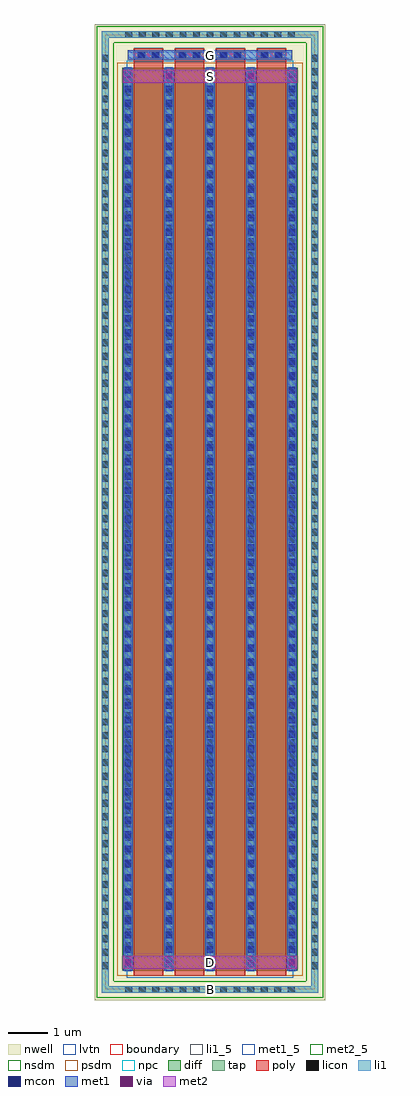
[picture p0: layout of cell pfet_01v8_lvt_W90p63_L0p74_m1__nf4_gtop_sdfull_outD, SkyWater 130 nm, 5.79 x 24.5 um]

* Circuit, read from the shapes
.subckt pfet_01v8_lvt_W90p63_L0p74_m1__nf4_gtop_sdfull_outD B D G S
XM1 S G D B sky130_fd_pr__pfet_01v8_lvt w=22.66 l=0.74 m=4
.ends

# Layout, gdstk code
import gdstk
lib = gdstk.Library(unit=1e-6, precision=1e-09)
def R(c, l, rs):  # rectangles x0, y0, x1, y1
    for r in rs: c.add(gdstk.rectangle(r[:2], r[2:], *l))
def A(c, l, x, y, w, h, nx, ny, dx, dy):  # array of equal rectangles
    R(c, l, [(x+i*dx, y+j*dy, x+i*dx+w, y+j*dy+h) for i in range(nx) for j in range(ny)])
nwell = (64, 20)
diff = (65, 20)
tap = (65, 44)
poly = (66, 20)
licon = (66, 44)
li1_5 = (67, 5)
li1 = (67, 20)
mcon = (67, 44)
met1_5 = (68, 5)
met1 = (68, 20)
via = (68, 44)
met2_5 = (69, 5)
met2 = (69, 20)
nsdm = (93, 44)
psdm = (94, 20)
npc = (95, 20)
lvtn = (125, 44)
boundary = (235, 4)

sky130_fd_pr__pfet_01v8_ = lib.new_cell('sky130_fd_pr__pfet_01v8_lvt_HVWXRW')
R(sky130_fd_pr__pfet_01v8_, nwell, [(-2.895,-12.25,2.895,12.25)])
R(sky130_fd_pr__pfet_01v8_, diff, [(-2.205,-11.51,2.205,11.15)])
R(sky130_fd_pr__pfet_01v8_, tap, [(-2.715,-12.07,2.715,-11.9), (-2.715,-11.9,-2.545,11.9), (2.545,-11.9,2.715,11.9), (-2.715,11.9,2.715,12.07)])
A(sky130_fd_pr__pfet_01v8_, poly, -1.915, -11.64, 0.74, 23.275, 4, 1, 1.03, 0)
A(sky130_fd_pr__pfet_01v8_, licon, -2.125, -12.07, 0.17, 0.17, 13, 2, 0.34, 23.97)
A(sky130_fd_pr__pfet_01v8_, licon, -2.715, -11.475, 0.17, 0.17, 1, 68, 0, 0.34)
A(sky130_fd_pr__pfet_01v8_, licon, 2.545, -11.475, 0.17, 0.17, 1, 68, 0, 0.34)
A(sky130_fd_pr__pfet_01v8_, licon, -2.145, -11.315, 0.17, 0.17, 5, 66, 1.03, 0.34)
R(sky130_fd_pr__pfet_01v8_, licon, [(-1.8,11.385,-1.63,11.555), (-1.46,11.385,-1.29,11.555), (-0.77,11.385,-0.6,11.555), (-0.43,11.385,-0.26,11.555), (0.26,11.385,0.43,11.555), (0.6,11.385,0.77,11.555), (1.29,11.385,1.46,11.555), (1.63,11.385,1.8,11.555)])
A(sky130_fd_pr__pfet_01v8_, li1, -2.145, -11.53, 0.17, 22.7, 5, 1, 1.03, 0)
R(sky130_fd_pr__pfet_01v8_, li1, [(-2.715,-12.07,2.715,-11.9), (-2.715,-11.9,-2.545,11.9), (2.545,-11.9,2.715,11.9), (-2.06,11.385,2.06,11.555), (-2.715,11.9,2.715,12.07)])
A(sky130_fd_pr__pfet_01v8_, mcon, -2.145, -11.425, 0.17, 0.17, 5, 63, 1.03, 0.36)
R(sky130_fd_pr__pfet_01v8_, mcon, [(-1.81,11.385,-1.64,11.555), (-1.45,11.385,-1.28,11.555), (-0.78,11.385,-0.61,11.555), (-0.42,11.385,-0.25,11.555), (0.25,11.385,0.42,11.555), (0.61,11.385,0.78,11.555), (1.28,11.385,1.45,11.555), (1.64,11.385,1.81,11.555)])
A(sky130_fd_pr__pfet_01v8_, met1, -2.175, -11.51, 0.23, 22.66, 5, 1, 1.03, 0)
A(sky130_fd_pr__pfet_01v8_, met1, -1.895, 11.355, 0.7, 0.03, 4, 2, 1.03, 0.2)
R(sky130_fd_pr__pfet_01v8_, met1, [(-2.06,11.385,2.06,11.555)])
R(sky130_fd_pr__pfet_01v8_, nsdm, [(-2.84,-12.195,2.84,-11.775), (-2.84,-11.775,-2.42,11.775), (2.42,-11.775,2.84,11.775), (-2.84,11.775,2.84,12.195)])
R(sky130_fd_pr__pfet_01v8_, psdm, [(-2.33,-11.635,2.33,11.275)])
A(sky130_fd_pr__pfet_01v8_, npc, -1.9, 11.285, 0.71, 0.37, 4, 1, 1.03, 0)
R(sky130_fd_pr__pfet_01v8_, lvtn, [(-2.095,-11.69,2.095,11.33)])
R(sky130_fd_pr__pfet_01v8_, boundary, [(-2.63,-11.985,2.63,11.985)])
sky130_fd_pr__pfet_01v8_.add(gdstk.Label('B', (0,-11.985), layer=67, texttype=5))
sky130_fd_pr__pfet_01v8_.add(gdstk.Label('D0', (-2.06,-0.18), layer=67, texttype=5))
sky130_fd_pr__pfet_01v8_.add(gdstk.Label('G', (1.545,11.47), layer=67, texttype=5))
sky130_fd_pr__pfet_01v8_.add(gdstk.Label('G', (0.515,11.47), layer=67, texttype=5))
sky130_fd_pr__pfet_01v8_.add(gdstk.Label('G', (-0.515,11.47), layer=67, texttype=5))
sky130_fd_pr__pfet_01v8_.add(gdstk.Label('G', (-1.545,11.47), layer=67, texttype=5))
sky130_fd_pr__pfet_01v8_.add(gdstk.Label('S1', (-1.03,-0.18), layer=67, texttype=5))
sky130_fd_pr__pfet_01v8_.add(gdstk.Label('D2', (0,-0.18), layer=67, texttype=5))
sky130_fd_pr__pfet_01v8_.add(gdstk.Label('S3', (1.03,-0.18), layer=67, texttype=5))

pfet_01v8_lvt_w90p63_l0p = lib.new_cell('pfet_01v8_lvt_W90p63_L0p74_m1__nf4_gtop_sdfull_outD')
R(pfet_01v8_lvt_w90p63_l0p, li1_5, [(2.545,-0.085,2.715,0.085)])
R(pfet_01v8_lvt_w90p63_l0p, li1, [(2.545,-0.085,2.715,0.085)])
R(pfet_01v8_lvt_w90p63_l0p, met1_5, [(0.57,23.34,4.69,23.57)])
A(pfet_01v8_lvt_w90p63_l0p, met1, 0.44, 0.525, 0.26, 0.32, 3, 1, 2.06, 0)
R(pfet_01v8_lvt_w90p63_l0p, met1, [(1.47,22.765,1.73,23.085), (3.53,22.765,3.79,23.085), (0.57,23.34,4.69,23.57)])
A(pfet_01v8_lvt_w90p63_l0p, via, 0.495, 0.61, 0.15, 0.15, 3, 1, 2.06, 0)
R(pfet_01v8_lvt_w90p63_l0p, via, [(1.525,22.85,1.675,23), (3.585,22.85,3.735,23)])
R(pfet_01v8_lvt_w90p63_l0p, met2_5, [(0.435,0.525,4.825,0.845), (0.435,22.765,4.825,23.085)])
R(pfet_01v8_lvt_w90p63_l0p, met2, [(0.435,0.525,4.825,0.845), (0.435,22.765,4.825,23.085)])
pfet_01v8_lvt_w90p63_l0p.add(gdstk.Reference(sky130_fd_pr__pfet_01v8_, (2.63,11.985)))
pfet_01v8_lvt_w90p63_l0p.add(gdstk.Label('S', (2.63,22.925), layer=69, texttype=5))
pfet_01v8_lvt_w90p63_l0p.add(gdstk.Label('D', (2.63,0.685), layer=69, texttype=5))
pfet_01v8_lvt_w90p63_l0p.add(gdstk.Label('G', (2.63,23.455), layer=68, texttype=5))
pfet_01v8_lvt_w90p63_l0p.add(gdstk.Label('B', (2.63,0), layer=67, texttype=5))

lib.write_gds('pfet_01v8_lvt_W90p63_L0p74_m1__nf4_gtop_sdfull_outD.gds')
